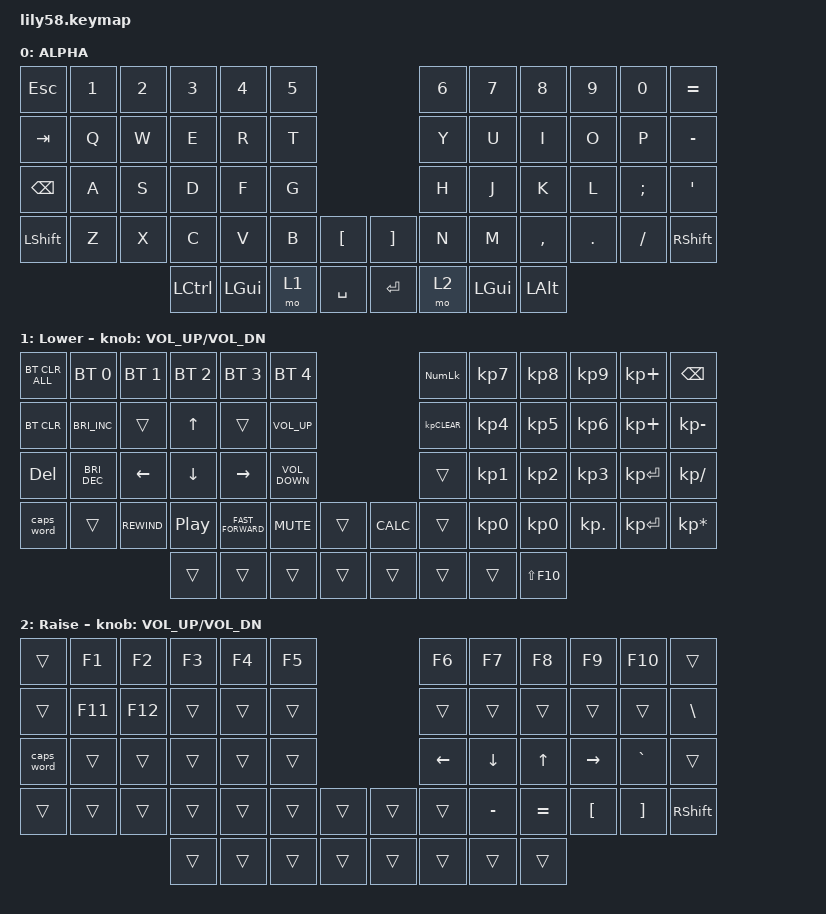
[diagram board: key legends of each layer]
/*
 * Copyright (c) 2020 The ZMK Contributors
 *
 * SPDX-License-Identifier: MIT
 */

#include <behaviors.dtsi>
#include <dt-bindings/zmk/bt.h>
#include <dt-bindings/zmk/keys.h>

/ {
    keymap {
        compatible = "zmk,keymap";

        QWERTY {
            // ------------------------------------------------------------------------------------------------------------
            // |  ESC  |  1  |  2  |  3   |  4   |  5   |                   |  6   |  7    |  8    |  9   |   0   |   `   |
            // |  TAB  |  Q  |  W  |  E   |  R   |  T   |                   |  Y   |  U    |  I    |  O   |   P   |   -   |
            // |  CTRL |  A  |  S  |  D   |  F   |  G   |                   |  H   |  J    |  K    |  L   |   ;   |   '   |
            // | SHIFT |  Z  |  X  |  C   |  V   |  B   |   "["  |  |  "]"  |  N   |  M    |  ,    |  .   |   /   | SHIFT |
            //                     | ALT  | GUI  | LOWER|  SPACE |  | ENTER | RAISE| BSPC  | GUI   |

            display-name = "ALPHA";
            bindings = <
&kp ESC        &kp N1  &kp N2  &kp N3     &kp N4    &kp N5                         &kp N6  &kp N7        &kp N8        &kp N9   &kp N0         &kp EQUAL
&kp TAB        &kp Q   &kp W   &kp E      &kp R     &kp T                          &kp Y   &kp U         &kp I         &kp O    &kp P          &kp MINUS
&kp BACKSPACE  &kp A   &kp S   &kp D      &kp F     &kp G                          &kp H   &kp J         &kp K         &kp L    &kp SEMICOLON  &kp SQT
&kp LSHFT      &kp Z   &kp X   &kp C      &kp V     &kp B   &kp LBKT     &kp RBKT  &kp N   &kp M         &kp COMMA     &kp DOT  &kp FSLH       &kp RIGHT_SHIFT
                               &kp LCTRL  &kp LGUI  &mo 1   &kp SPACE    &kp RET   &mo 2   &kp LEFT_GUI  &kp LEFT_ALT
            >;
        };

        Numpad+media {
            // ------------------------------------------------------------------------------------------------------------
            // | BTCLR | BT1 | BT2 |  BT3 |  BT4 |  BT5 |                   |      |       |       |      |       |       |
            // |  F1   |  F2 |  F3 |  F4  |  F5  |  F6  |                   |  F7  |  F8   |  F9   |  F10 |  F11  |  F12  |
            // |   `   |  !  |  @  |  #   |  $   |  %   |                   |  ^   |  &    |  *    |  (   |   )   |   ~   |
            // |       |     |     |      |      |      |        |  |       |      |  _    |  +    |  {   |   }   |  "|"  |
            //                     |      |      |      |        |  |       |      |       |       |

            display-name = "Lower";
            bindings = <
&bt BT_CLR_ALL  &bt BT_SEL 0          &bt BT_SEL 1  &bt BT_SEL 2      &bt BT_SEL 3        &bt BT_SEL 4                             &kp KP_NUMLOCK  &kp KP_NUMBER_7  &kp KP_NUMBER_8  &kp KP_NUMBER_9  &kp KP_PLUS   &kp BACKSPACE
&bt BT_CLR      &kp C_BRIGHTNESS_INC  &trans        &kp UP            &trans              &kp C_VOLUME_UP                          &kp KP_CLEAR    &kp KP_NUMBER_4  &kp KP_NUMBER_5  &kp KP_NUMBER_6  &kp KP_PLUS   &kp KP_MINUS
&kp DELETE      &kp C_BRIGHTNESS_DEC  &kp LEFT      &kp DOWN          &kp RIGHT           &kp C_VOLUME_DOWN                        &trans          &kp KP_NUMBER_1  &kp KP_NUMBER_2  &kp KP_NUMBER_3  &kp KP_ENTER  &kp KP_SLASH
&caps_word      &trans                &kp C_REWIND  &kp C_PLAY_PAUSE  &kp C_FAST_FORWARD  &kp C_MUTE         &trans    &kp K_CALC  &trans          &kp KP_NUMBER_0  &kp KP_NUMBER_0  &kp KP_DOT       &kp KP_ENTER  &kp KP_MULTIPLY
                                                    &trans            &trans              &trans             &trans    &trans      &trans          &trans           &kp LS(F10)
            >;

            sensor-bindings = <&inc_dec_kp C_VOL_UP C_VOL_DN>;
        };

        raise_layer {
            // ------------------------------------------------------------------------------------------------------------
            // |       |     |     |      |      |      |                   |      |       |       |      |       |       |
            // |   `   |  1  |  2  |  3   |  4   |  5   |                   |  6   |   7   |   8   |  9   |   0   |       |
            // |   F1  |  F2 |  F3 |  F4  |  F5  |  F6  |                   |      |   <-  |   v   |  ^   |  ->   |       |
            // |   F7  |  F8 |  F9 |  F10 |  F11 |  F12 |        |  |       |  +   |   -   |   =   |  [   |   ]   |   \   |
            //                     |      |      |      |        |  |       |      |       |       |

            display-name = "Raise";
            bindings = <
&trans      &kp F1   &kp F2   &kp F3  &kp F4  &kp F5                    &kp F6    &kp F7     &kp F8     &kp F9     &kp F10    &trans
&trans      &kp F11  &kp F12  &trans  &trans  &trans                    &trans    &trans     &trans     &trans     &trans     &kp BACKSLASH
&caps_word  &trans   &trans   &trans  &trans  &trans                    &kp LEFT  &kp DOWN   &kp UP     &kp RIGHT  &kp GRAVE  &trans
&trans      &trans   &trans   &trans  &trans  &trans  &trans    &trans  &trans    &kp MINUS  &kp EQUAL  &kp LBKT   &kp RBKT   &kp RIGHT_SHIFT
                              &trans  &trans  &trans  &trans    &trans  &trans    &trans     &trans
            >;

            sensor-bindings = <&inc_dec_kp C_VOL_UP C_VOL_DN>;
        };

        extra_1 { status = "reserved"; };

        extra_2 { status = "reserved"; };

        extra_3 { status = "reserved"; };
    };
};
